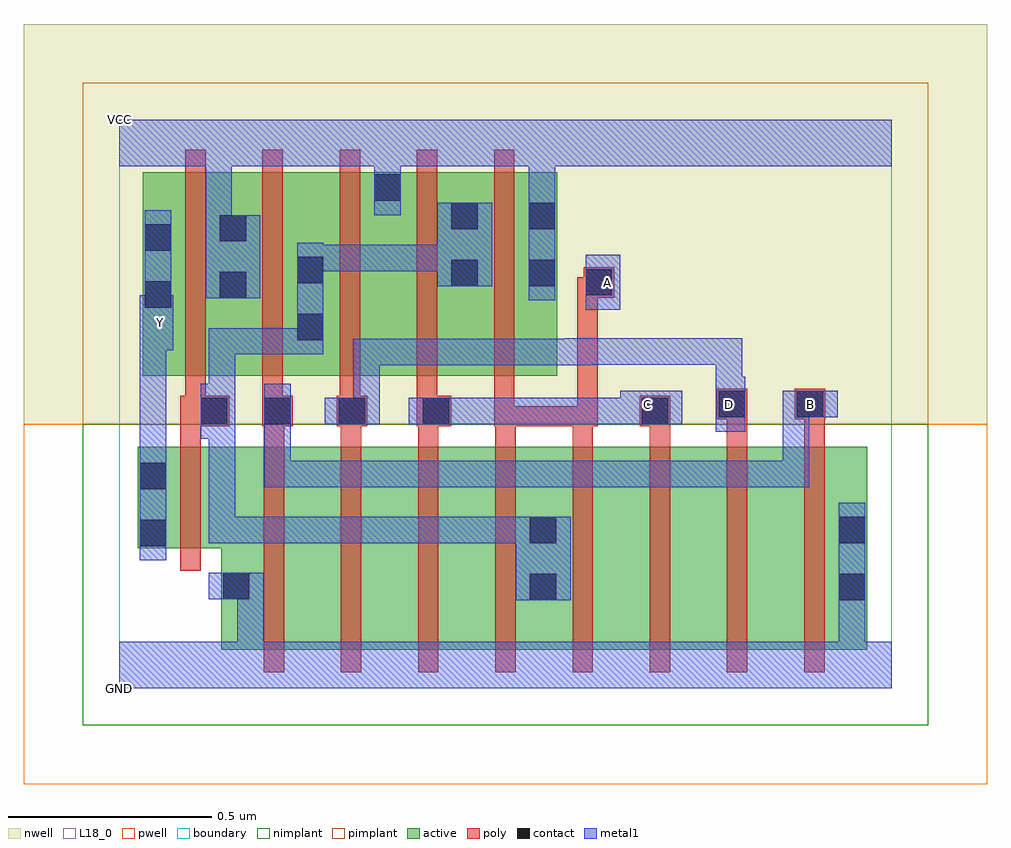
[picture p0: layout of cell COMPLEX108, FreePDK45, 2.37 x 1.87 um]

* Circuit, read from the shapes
.subckt COMPLEX108 A B C D GND VCC Y
M1 GND n1 Y VSUBS nfet w=0.25u l=0.05u
M2 n2 B GND VSUBS nfet w=0.5u l=0.05u
M3 n3 D n2 VSUBS nfet w=0.5u l=0.05u
M4 n4 C n3 VSUBS nfet w=0.5u l=0.05u
M5 n1 A n4 VSUBS nfet w=0.5u l=0.05u
M6 n5 A n1 VSUBS nfet w=0.5u l=0.05u
M7 n6 C n5 VSUBS nfet w=0.5u l=0.05u
M8 n7 D n6 VSUBS nfet w=0.5u l=0.05u
M9 GND B n7 VSUBS nfet w=0.5u l=0.05u
M10 VCC n1 Y n8 pfet w=0.5u l=0.05u
M11 n1 B VCC n8 pfet w=0.5u l=0.05u
M12 VCC D n1 n8 pfet w=0.5u l=0.05u
M13 n1 C VCC n8 pfet w=0.5u l=0.05u
M14 VCC A n1 n8 pfet w=0.5u l=0.05u
.ends

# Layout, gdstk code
import gdstk
lib = gdstk.Library(unit=1e-6, precision=1e-09)
def R(c, l, rs):  # rectangles x0, y0, x1, y1
    for r in rs: c.add(gdstk.rectangle(r[:2], r[2:], *l))
def A(c, l, x, y, w, h, nx, ny, dx, dy):  # array of equal rectangles
    R(c, l, [(x+i*dx, y+j*dy, x+i*dx+w, y+j*dy+h) for i in range(nx) for j in range(ny)])
active = (1, 0)
pwell = (2, 0)
nwell = (3, 0)
nimplant = (4, 0)
pimplant = (5, 0)
poly = (9, 0)
contact = (10, 0)
metal1 = (11, 0)
L18_0 = (18, 0)
boundary = (235, 0)

complex108 = lib.new_cell('COMPLEX108')
A(complex108, active, 0.242, 0.77, 0.265, 0.5, 4, 1, 0.19, 0)
R(complex108, active, [(0.25,0.095,0.475,0.595), (0.25,0.095,0.325,0.427), (0.475,0.095,0.665,0.595), (0.665,0.095,0.855,0.595), (0.855,0.095,1.08,0.595), (1.005,0.095,1.235,0.595), (1.005,0.095,1.08,0.592), (1.235,0.095,1.425,0.595), (1.425,0.095,1.615,0.595), (1.615,0.095,1.84,0.595), (1.765,0.095,1.84,0.595), (0.045,0.345,0.325,0.595), (0.045,0.345,0.12,0.595), (0.057,0.77,0.317,1.27), (0.057,0.77,0.132,1.2), (1.002,0.77,1.077,1.242), (0.242,0.807,0.317,1.267), (0.432,0.807,0.507,1.2), (0.622,0.807,0.697,1.27), (0.812,0.807,0.887,1.2)])
R(complex108, pwell, [(-0.235,-0.235,2.135,0.65)])
R(complex108, nwell, [(-0.235,0.65,2.135,1.635)])
R(complex108, nimplant, [(-0.09,-0.09,1.99,0.65)])
R(complex108, pimplant, [(-0.09,0.65,1.99,1.49)])
A(complex108, poly, 0.355, 0.04, 0.05, 0.61, 8, 1, 0.19, 0)
A(complex108, poly, 0.355, 0.6, 0.05, 0.095, 6, 1, 0.19, 0)
A(complex108, poly, 0.162, 0.67, 0.05, 0.095, 4, 1, 0.19, 0)
A(complex108, poly, 0.162, 0.715, 0.05, 0.61, 5, 1, 0.19, 0)
R(complex108, poly, [(0.15,0.29,0.2,0.65), (0.15,0.6,0.2,0.695), (1.495,0.6,1.545,0.712), (1.685,0.6,1.735,0.712), (0.15,0.645,0.27,0.72), (0.352,0.645,0.427,0.72), (0.535,0.645,0.61,0.72), (0.732,0.645,0.817,0.72), (0.922,0.645,0.972,0.765), (0.922,0.645,0.975,0.695), (0.925,0.645,1.165,0.695), (1.115,0.645,1.165,0.695), (1.115,0.645,1.165,0.695), (1.115,0.645,1.177,0.695), (1.127,0.645,1.177,1.012), (1.28,0.645,1.355,0.72), (1.47,0.662,1.545,0.737), (1.662,0.662,1.737,0.737), (1.127,0.962,1.192,1.012), (1.142,0.962,1.217,1.037), (1.142,0.962,1.192,1.012)])
R(complex108, contact, [(1.01,0.217,1.075,0.282), (1.77,0.217,1.835,0.282), (0.255,0.22,0.32,0.285), (0.05,0.35,0.115,0.415), (1.01,0.357,1.075,0.422), (1.77,0.357,1.835,0.422), (0.05,0.49,0.115,0.555), (0.2,0.65,0.265,0.715), (0.357,0.65,0.422,0.715), (0.54,0.65,0.605,0.715), (0.747,0.65,0.812,0.715), (1.285,0.65,1.35,0.715), (1.475,0.667,1.54,0.732), (1.667,0.667,1.732,0.732), (0.437,0.857,0.502,0.922), (0.062,0.937,0.127,1.002), (0.247,0.96,0.312,1.025), (1.147,0.967,1.212,1.032), (0.817,0.99,0.882,1.055), (1.007,0.99,1.072,1.055), (0.437,0.997,0.502,1.062), (0.062,1.077,0.127,1.142), (0.247,1.1,0.312,1.165), (0.817,1.13,0.882,1.195), (1.007,1.13,1.072,1.195), (0.627,1.2,0.692,1.265)])
R(complex108, metal1, [(0,0,1.9,0.115), (0.29,0.05,0.355,0.285), (1.77,0.05,1.835,0.247), (1.77,0.182,1.835,0.457), (0.975,0.217,1.11,0.422), (0.22,0.22,0.355,0.285), (0.05,0.315,0.115,0.59), (0.22,0.357,0.285,0.422), (0.22,0.357,0.432,0.422), (0.22,0.357,0.285,0.68), (0.367,0.357,0.432,0.422), (0.367,0.357,0.432,0.422), (0.367,0.357,0.432,0.422), (0.367,0.357,0.64,0.422), (0.575,0.357,0.64,0.422), (0.575,0.357,0.64,0.422), (0.575,0.357,0.64,0.422), (0.575,0.357,0.777,0.422), (0.712,0.357,0.777,0.422), (0.712,0.357,0.777,0.422), (0.712,0.357,0.777,0.422), (0.712,0.357,0.985,0.422), (0.92,0.357,0.985,0.422), (0.92,0.357,1.04,0.422), (0.357,0.495,0.422,0.56), (0.357,0.495,0.422,0.68), (0.357,0.495,0.64,0.56), (0.575,0.495,0.64,0.56), (0.575,0.495,0.64,0.56), (0.575,0.495,0.64,0.56), (0.575,0.495,0.777,0.56), (0.712,0.495,0.777,0.56), (0.712,0.495,0.777,0.56), (0.712,0.495,0.777,0.56), (0.712,0.495,0.985,0.56), (0.92,0.495,0.985,0.56), (0.92,0.495,0.985,0.56), (0.92,0.495,0.985,0.56), (0.92,0.495,1.122,0.56), (1.057,0.495,1.122,0.56), (1.057,0.495,1.122,0.56), (1.057,0.495,1.122,0.56), (1.057,0.495,1.297,0.56), (1.232,0.495,1.297,0.56), (1.232,0.495,1.522,0.56), (1.457,0.495,1.522,0.56), (1.457,0.495,1.522,0.56), (1.457,0.495,1.522,0.56), (1.457,0.495,1.697,0.56), (1.632,0.495,1.697,0.56), (1.632,0.495,1.697,0.732), (0.05,0.525,0.115,0.897), (0.2,0.615,0.265,0.75), (0.2,0.615,0.285,0.68), (0.22,0.615,0.285,0.68), (0.22,0.615,0.285,0.68), (0.22,0.615,0.285,0.68), (0.22,0.615,0.285,0.887), (0.357,0.615,0.422,0.68), (0.357,0.615,0.422,0.68), (0.357,0.615,0.422,0.75), (1.467,0.632,1.54,0.767), (0.505,0.65,0.64,0.715), (0.575,0.65,0.64,0.715), (0.575,0.65,0.64,0.715), (0.575,0.65,0.64,0.86), (0.712,0.65,0.847,0.715), (0.782,0.65,0.847,0.715), (0.782,0.65,0.847,0.715), (0.782,0.65,0.985,0.715), (0.92,0.65,0.985,0.715), (0.92,0.65,0.985,0.715), (0.92,0.65,0.985,0.715), (0.92,0.65,1.122,0.715), (1.057,0.65,1.122,0.715), (1.057,0.65,1.297,0.715), (1.232,0.65,1.297,0.715), (1.232,0.65,1.297,0.715), (1.232,0.65,1.385,0.732), (1.632,0.667,1.697,0.732), (1.632,0.667,1.697,0.732), (1.632,0.667,1.767,0.732), (1.467,0.702,1.532,0.767), (1.467,0.702,1.532,0.767), (1.467,0.702,1.532,0.862), (0.575,0.795,0.64,0.86), (0.575,0.795,0.777,0.86), (0.712,0.795,0.777,0.86), (0.712,0.795,0.777,0.86), (0.712,0.795,0.777,0.86), (0.712,0.795,0.985,0.86), (0.92,0.795,0.985,0.86), (0.92,0.795,0.985,0.86), (0.92,0.795,0.985,0.86), (0.92,0.795,1.16,0.86), (1.095,0.795,1.16,0.86), (1.095,0.795,1.16,0.86), (1.095,0.795,1.16,0.862), (1.095,0.797,1.332,0.862), (1.267,0.797,1.332,0.862), (1.267,0.797,1.532,0.862), (1.467,0.797,1.532,0.862), (0.22,0.822,0.285,0.887), (0.22,0.822,0.415,0.887), (0.35,0.822,0.415,0.887), (0.35,0.822,0.502,0.887), (0.437,0.822,0.502,1.097), (0.05,0.832,0.132,0.967), (0.062,0.902,0.127,1.177), (0.062,0.902,0.127,0.967), (1.147,0.932,1.232,1.067), (1.007,0.955,1.072,1.23), (0.212,0.96,0.347,1.165), (0.782,0.99,0.917,1.195), (0.437,1.027,0.502,1.092), (0.437,1.027,0.64,1.092), (0.437,1.027,0.502,1.097), (0.575,1.027,0.64,1.092), (0.575,1.027,0.64,1.092), (0.575,1.027,0.64,1.092), (0.575,1.027,0.777,1.092), (0.712,1.027,0.777,1.092), (0.712,1.027,0.847,1.092), (0.212,1.1,0.277,1.35), (0.627,1.165,0.692,1.3), (1.007,1.165,1.072,1.35), (0.627,1.235,0.692,1.35), (0,1.285,1.9,1.4), (0.212,1.285,0.277,1.35), (0.212,1.285,0.277,1.35), (0.627,1.285,0.692,1.35), (0.627,1.285,0.692,1.35), (1.007,1.285,1.072,1.35), (1.007,1.285,1.072,1.35)])
R(complex108, L18_0, [(0,0,1.9,0.115), (0.29,0.05,0.355,0.285), (1.77,0.05,1.835,0.247), (1.77,0.182,1.835,0.457), (0.22,0.22,0.355,0.285), (0.05,0.315,0.115,0.59), (0.357,0.495,0.422,0.56), (0.357,0.495,0.422,0.68), (0.357,0.495,0.64,0.56), (0.575,0.495,0.64,0.56), (0.575,0.495,0.64,0.56), (0.575,0.495,0.64,0.56), (0.575,0.495,0.777,0.56), (0.712,0.495,0.777,0.56), (0.712,0.495,0.777,0.56), (0.712,0.495,0.777,0.56), (0.712,0.495,0.985,0.56), (0.92,0.495,0.985,0.56), (0.92,0.495,0.985,0.56), (0.92,0.495,0.985,0.56), (0.92,0.495,1.122,0.56), (1.057,0.495,1.122,0.56), (1.057,0.495,1.122,0.56), (1.057,0.495,1.122,0.56), (1.057,0.495,1.297,0.56), (1.232,0.495,1.297,0.56), (1.232,0.495,1.522,0.56), (1.457,0.495,1.522,0.56), (1.457,0.495,1.522,0.56), (1.457,0.495,1.522,0.56), (1.457,0.495,1.697,0.56), (1.632,0.495,1.697,0.56), (1.632,0.495,1.697,0.732), (0.05,0.525,0.115,0.897), (0.357,0.615,0.422,0.68), (0.357,0.615,0.422,0.68), (0.357,0.615,0.422,0.75), (1.467,0.632,1.54,0.767), (0.505,0.65,0.64,0.715), (0.575,0.65,0.64,0.715), (0.575,0.65,0.64,0.715), (0.575,0.65,0.64,0.86), (0.712,0.65,0.847,0.715), (0.782,0.65,0.847,0.715), (0.782,0.65,0.847,0.715), (0.782,0.65,0.985,0.715), (0.92,0.65,0.985,0.715), (0.92,0.65,0.985,0.715), (0.92,0.65,0.985,0.715), (0.92,0.65,1.122,0.715), (1.057,0.65,1.122,0.715), (1.057,0.65,1.297,0.715), (1.232,0.65,1.297,0.715), (1.232,0.65,1.297,0.715), (1.232,0.65,1.385,0.732), (1.267,0.667,1.332,0.732), (1.467,0.667,1.532,0.732), (1.632,0.667,1.697,0.732), (1.632,0.667,1.697,0.732), (1.632,0.667,1.767,0.732), (1.667,0.667,1.732,0.732), (1.467,0.702,1.532,0.767), (1.467,0.702,1.532,0.767), (1.467,0.702,1.532,0.862), (0.575,0.795,0.64,0.86), (0.575,0.795,0.777,0.86), (0.712,0.795,0.777,0.86), (0.712,0.795,0.777,0.86), (0.712,0.795,0.777,0.86), (0.712,0.795,0.985,0.86), (0.92,0.795,0.985,0.86), (0.92,0.795,0.985,0.86), (0.92,0.795,0.985,0.86), (0.92,0.795,1.16,0.86), (1.095,0.795,1.16,0.86), (1.095,0.795,1.16,0.86), (1.095,0.795,1.16,0.862), (1.095,0.797,1.332,0.862), (1.267,0.797,1.332,0.862), (1.267,0.797,1.532,0.862), (1.467,0.797,1.532,0.862), (0.05,0.832,0.132,0.967), (0.067,0.867,0.132,0.932), (0.062,0.902,0.127,1.177), (0.062,0.902,0.127,0.967), (1.147,0.932,1.232,1.067), (1.007,0.955,1.072,1.23), (0.212,0.96,0.347,1.165), (1.167,0.967,1.232,1.032), (0.212,1.1,0.277,1.35), (0.627,1.165,0.692,1.3), (1.007,1.165,1.072,1.35), (0.627,1.235,0.692,1.35), (0,1.285,1.9,1.4), (0.212,1.285,0.277,1.35), (0.212,1.285,0.277,1.35), (0.627,1.285,0.692,1.35), (0.627,1.285,0.692,1.35), (1.007,1.285,1.072,1.35), (1.007,1.285,1.072,1.35)])
R(complex108, boundary, [(0,0,1.9,1.4)])
complex108.add(gdstk.Label('A', (1.2,1), layer=11, texttype=0))
complex108.add(gdstk.Label('B', (1.7,0.7), layer=11, texttype=0))
complex108.add(gdstk.Label('C', (1.3,0.7), layer=11, texttype=0))
complex108.add(gdstk.Label('D', (1.5,0.7), layer=11, texttype=0))
complex108.add(gdstk.Label('Y', (0.1,0.9), layer=11, texttype=0))
complex108.add(gdstk.Label('VCC', (0,1.4), layer=11, texttype=0))
complex108.add(gdstk.Label('GND', (0,0), layer=11, texttype=0))

lib.write_gds('COMPLEX108.gds')
